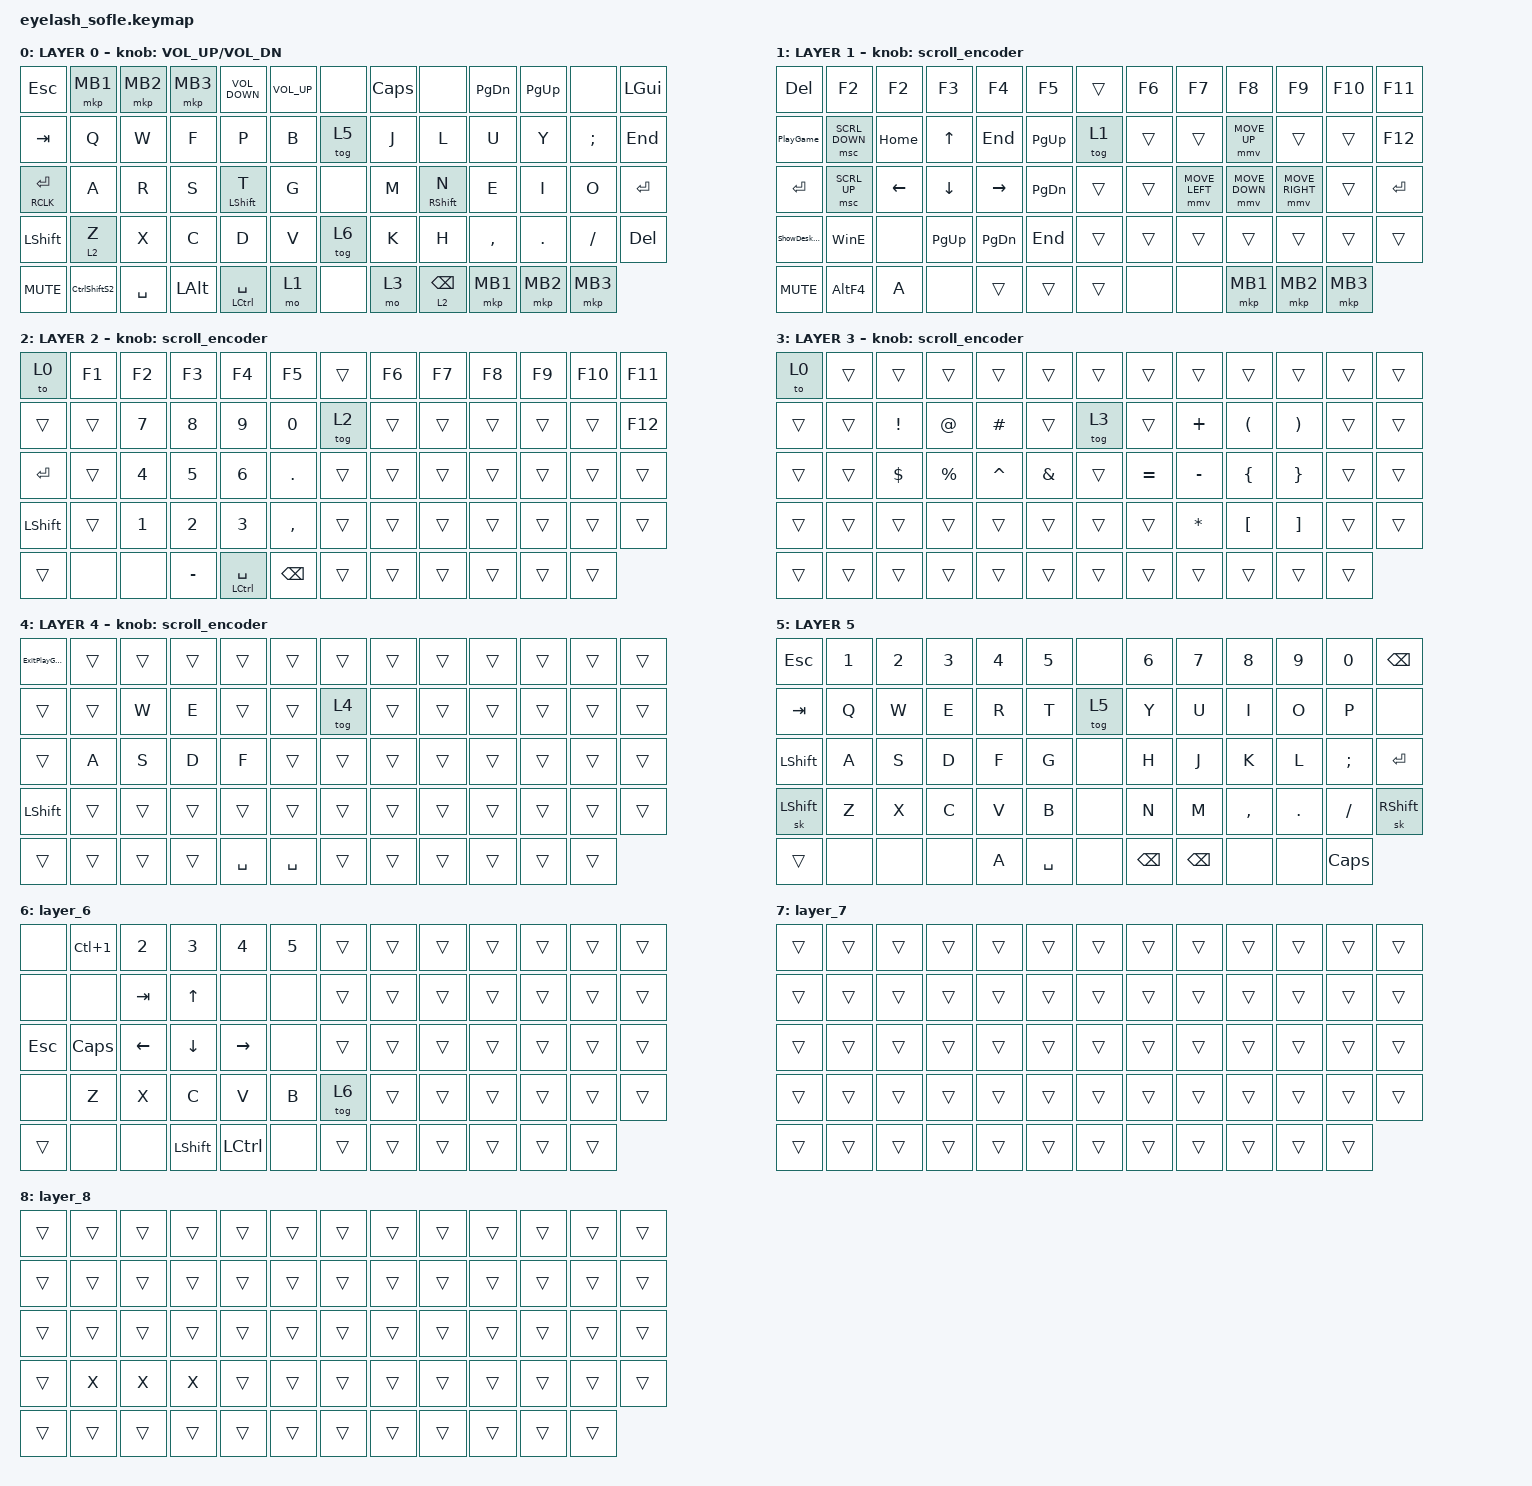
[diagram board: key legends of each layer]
#define ZMK_POINTING_DEFAULT_MOVE_VAL 1200  // 600
#define ZMK_POINTING_DEFAULT_SCRL_VAL 25   // 10

#include <input/processors.dtsi>
#include <zephyr/dt-bindings/input/input-event-codes.h>
#include <behaviors.dtsi>
#include <dt-bindings/zmk/keys.h>
#include <dt-bindings/zmk/pointing.h>

&mmv_input_listener { input-processors = <&zip_xy_scaler 2 1>; };

&msc_input_listener { input-processors = <&zip_scroll_scaler 2 1>; };

&msc {
    acceleration-exponent = <1>;      // 0
    time-to-max-speed-ms = <100>;       // 300
    delay-ms = <0>;                   // 0
};

&mmv {
    time-to-max-speed-ms = <500>;
    acceleration-exponent = <1>;
    trigger-period-ms = <16>;
};

&soft_off { hold-time-ms = <2000>; };

/ {
    scroll_encoder: scroll_encoder {
        compatible = "zmk,behavior-sensor-rotate";
        #sensor-binding-cells = <0>;
        bindings = <&msc SCRL_DOWN>, <&msc SCRL_UP>;

        tap-ms = <100>;
    };

    hm: hm {
        compatible = "zmk,behavior-hold-tap";
        label = "HM";
        bindings = <&kp>, <&kp>;

        #binding-cells = <2>;
        tapping-term-ms = <200>;
        quick-tap-ms = <200>;
        require-prior-idle-ms = <200>;
        flavor = "tap-preferred";
    };

    hm_300: hm_300 {
        compatible = "zmk,behavior-hold-tap";
        label = "HM_300";
        bindings = <&kp>, <&kp>;

        #binding-cells = <2>;
        tapping-term-ms = <300>;
        quick-tap-ms = <300>;
        require-prior-idle-ms = <300>;
        flavor = "tap-preferred";
    };

    hm_400: hm_400 {
        compatible = "zmk,behavior-hold-tap";
        label = "HM_400";
        bindings = <&kp>, <&kp>;

        #binding-cells = <2>;
        tapping-term-ms = <400>;
        quick-tap-ms = <400>;
        require-prior-idle-ms = <400>;
        flavor = "tap-preferred";
    };

    hm_500: hm_500 {
        compatible = "zmk,behavior-hold-tap";
        label = "HM_500";
        bindings = <&kp>, <&kp>;

        #binding-cells = <2>;
        tapping-term-ms = <500>;
        quick-tap-ms = <500>;
        require-prior-idle-ms = <500>;
        flavor = "tap-preferred";
    };

    tap_dance_click: tap_dance_click {
        compatible = "zmk,behavior-hold-tap";
        label = "TAP_DANCE_CLICK";
        bindings = <&mkp>, <&kp>;

        #binding-cells = <2>;
        tapping-term-ms = <200>;
        flavor = "tap-preferred";
    };

    tap_dance_with_mouse: tap_dance_with_mouse {
        compatible = "zmk,behavior-hold-tap";
        label = "TAP_DANCE_WITH_MOUSE";
        bindings = <&mkp>, <&sk>;

        #binding-cells = <2>;
        tapping-term-ms = <300>;
    };

    behaviors {
    };

    combos {
        compatible = "zmk,combos";

        softoff {
            bindings = <&soft_off>;
            key-positions = <14 28 40>;
        };

        Liniuta {
            bindings = <&kp MINUS>;
            key-positions = <30 34>;
        };

        QuestionMark {
            bindings = <&kp QUESTION>;
            key-positions = <17 21>;
        };

        Colon {
            bindings = <&kp COLON>;
            key-positions = <31 33>;
        };

        Underscore {
            bindings = <&kp UNDERSCORE>;
            key-positions = <43 47>;
        };

        Apostrof {
            bindings = <&kp SQT>;
            key-positions = <29 35>;
        };

        Ghilimele {
            bindings = <&kp DOUBLE_QUOTES>;
            key-positions = <16 22>;
        };

        StickyShift {
            bindings = <&sk LEFT_SHIFT>;
            key-positions = <42 48>;
        };

        StickyShift2 {
            bindings = <&sk LEFT_SHIFT>;
            key-positions = <28 36>;
        };

        StickyShift3 {
            bindings = <&sk LEFT_SHIFT>;
            key-positions = <15 23>;
        };

        LeftShift {
            bindings = <&sk LEFT_SHIFT>;
            key-positions = <29 30>;
        };

        RightShift {
            bindings = <&sk RIGHT_SHIFT>;
            key-positions = <34 35>;
        };

        leftshift5 {
            bindings = <&sk RIGHT_SHIFT>;
            key-positions = <56 15>;
        };

        leftshift9 {
            bindings = <&sk RIGHT_SHIFT>;
            key-positions = <56 16>;
        };
    };

    macros {
        PlayGame: PlayGame {
            compatible = "zmk,behavior-macro";
            #binding-cells = <0>;
            bindings =
                <&macro_press>,
                <&kp LEFT_ALT>,
                <&macro_wait_time 20>,
                <&macro_press>,
                <&kp Q>,
                <&macro_release>,
                <&kp LEFT_ALT &kp Q>,
                <&macro_tap>,
                <&tog 4>;

            label = "PLAYGAME";
        };

        ExitPlayGame: ExitPlayGame {
            compatible = "zmk,behavior-macro";
            #binding-cells = <0>;
            bindings = <&kp ESCAPE &tog 4>;
            label = "EXITPLAYGAME";
        };

        Test: Test {
            compatible = "zmk,behavior-macro";
            #binding-cells = <0>;
            bindings = <&none &kp LS(T) &kp Y &kp P &kp E &kp SPACE &kp S &kp O &kp M &kp E &kp T &kp H &kp I &kp N &kp G &kp DOT &kp DOT &kp DOT>;
            label = "TEST";
        };

        CTRL_SHIFT_CLICK: CTRL_SHIFT_CLICK {
            compatible = "zmk,behavior-macro";
            #binding-cells = <0>;
            bindings = <&kt LEFT_CONTROL &kt LEFT_SHIFT &mkp MB1 &kt LEFT_CONTROL &kt LEFT_SHIFT>;
            label = "CTRL_SHIFT_CLICK";
        };

        WinE: WinD {
            compatible = "zmk,behavior-macro";
            #binding-cells = <0>;
            bindings =
                <&macro_press>,
                <&kp LEFT_WIN>,
                <&macro_wait_time 20>,
                <&macro_press>,
                <&kp E>,
                <&macro_release>,
                <&kp LEFT_WIN &kp E>;

            label = "WIND";
        };

        ShowDesktop: ShowDesktop {
            compatible = "zmk,behavior-macro";
            #binding-cells = <0>;
            bindings =
                <&macro_press>,
                <&kp LEFT_WIN>,
                <&macro_wait_time 20>,
                <&macro_press>,
                <&kp D>,
                <&macro_release>,
                <&kp LEFT_WIN &kp D>;

            label = "SHOWDESKTOP";
        };

        WinDown: WinDown {
            compatible = "zmk,behavior-macro";
            #binding-cells = <0>;
            bindings =
                <&macro_press>,
                <&kp LEFT_WIN>,
                <&macro_wait_time 20>,
                <&macro_press>,
                <&kp DOWN>,
                <&macro_release>,
                <&kp LEFT_WIN &kp DOWN_ARROW>;

            label = "WINDOWN";
        };

        CtrlShiftS: CtrlShiftS {
            compatible = "zmk,behavior-macro";
            #binding-cells = <0>;
            bindings = <&kp S>, <&macro_press>, <&kp LCTRL &kp LEFT_SHIFT>;

            label = "CTRLSHIFTS";
        };

        CtrlShiftS2: CtrlShiftS2 {
            compatible = "zmk,behavior-macro";
            #binding-cells = <0>;
            bindings =
                <&macro_press>,
                <&kp LCTRL &kp LEFT_SHIFT>,
                <&macro_wait_time 20>,
                <&macro_press>,
                <&kp S>,
                <&macro_release>,
                <&kp LCTRL &kp LEFT_SHIFT &kp S>;

            label = "CTRLSHIFTS2";
        };

        AltF4: AltF4 {
            compatible = "zmk,behavior-macro";
            #binding-cells = <0>;
            bindings =
                <&macro_press>,
                <&kp LEFT_ALT>,
                <&macro_wait_time 20>,
                <&macro_press>,
                <&kp F4>,
                <&macro_release>,
                <&kp LEFT_ALT &kp F4>;

            label = "ALTF4";
        };
    };

    keymap {
        compatible = "zmk,keymap";

        Layer_0 {
            bindings = <
&kp ESC                      &mkp MB1      &mkp MB2   &mkp MB3      &kp C_VOLUME_DOWN           &kp C_VOLUME_UP    &none   &kp CAPSLOCK  &none              &kp PAGE_DOWN  &kp PAGE_UP  &none          &kp LEFT_GUI
&kp TAB                      &kp Q         &kp W      &kp F         &kp P                       &kp B              &tog 5  &kp J         &kp L              &kp U          &kp Y        &kp SEMICOLON  &kp END
&tap_dance_click RCLK ENTER  &kp A         &kp R      &kp S         &hm LEFT_SHIFT T            &kp G              &none   &kp M         &hm RIGHT_SHIFT N  &kp E          &kp I        &kp O          &kp ENTER
&kp LEFT_SHIFT               &lt 2 Z       &kp X      &kp C         &kp D                       &kp V              &tog 6  &kp K         &kp H              &kp COMMA      &kp DOT      &kp FSLH       &kp DELETE
&kp C_MUTE                   &CtrlShiftS2  &kp SPACE  &kp LEFT_ALT  &hm_300 LEFT_CONTROL SPACE  &mo 1              &none   &mo 3         &lt 2 BACKSPACE    &mkp MB1       &mkp MB2     &mkp MB3
            >;

            sensor-bindings = <&inc_dec_kp C_VOLUME_UP C_VOL_DN>;
            display-name = "LAYER 0";
        };

        Layer_1 {
            bindings = <
&kp DELETE    &kp F2          &kp F2          &kp F3          &kp F4         &kp F5           &trans  &kp F6  &kp F7          &kp F8          &kp F9           &kp F10   &kp F11
&PlayGame     &msc SCRL_DOWN  &kp HOME        &kp UP_ARROW    &kp END        &kp PAGE_UP      &tog 1  &trans  &trans          &mmv MOVE_UP    &trans           &trans    &kp F12
&kp ENTER     &msc SCRL_UP    &kp LEFT_ARROW  &kp DOWN_ARROW  &kp RIGHT      &kp PAGE_DOWN    &trans  &trans  &mmv MOVE_LEFT  &mmv MOVE_DOWN  &mmv MOVE_RIGHT  &trans    &kp ENTER
&ShowDesktop  &WinE           &none           &kp PAGE_UP     &kp PAGE_DOWN  &kp END          &trans  &trans  &trans          &trans          &trans           &trans    &trans
&kp C_MUTE    &AltF4          &kp A           &none           &trans         &trans           &trans  &none   &none           &mkp MB1        &mkp MB2         &mkp MB3
            >;

            display-name = "LAYER 1";
            sensor-bindings = <&scroll_encoder>;
        };

        Layer_2 {
            bindings = <
&to 0           &kp F1  &kp F2        &kp F3        &kp F4                  &kp F5           &trans  &kp F6  &kp F7  &kp F8  &kp F9  &kp F10  &kp F11
&trans          &trans  &kp N7        &kp N8        &kp N9                  &kp N0           &tog 2  &trans  &trans  &trans  &trans  &trans   &kp F12
&kp ENTER       &trans  &kp NUMBER_4  &kp N5        &kp NUMBER_6            &kp PERIOD       &trans  &trans  &trans  &trans  &trans  &trans   &trans
&kp LEFT_SHIFT  &trans  &kp NUMBER_1  &kp NUMBER_2  &kp NUMBER_3            &kp COMMA        &trans  &trans  &trans  &trans  &trans  &trans   &trans
&trans          &none   &none         &kp MINUS     &hm LEFT_CONTROL SPACE  &kp BACKSPACE    &trans  &trans  &trans  &trans  &trans  &trans
            >;

            display-name = "LAYER 2";
            sensor-bindings = <&scroll_encoder>;
        };

        Layer_3 {
            bindings = <
&to 0   &trans  &trans           &trans       &trans     &trans           &trans  &trans     &trans        &trans                &trans                 &trans  &trans
&trans  &trans  &kp EXCLAMATION  &kp AT       &kp HASH   &trans           &tog 3  &trans     &kp PLUS      &kp LEFT_PARENTHESIS  &kp RIGHT_PARENTHESIS  &trans  &trans
&trans  &trans  &kp DOLLAR       &kp PERCENT  &kp CARET  &kp AMPERSAND    &trans  &kp EQUAL  &kp MINUS     &kp LEFT_BRACE        &kp RIGHT_BRACE        &trans  &trans
&trans  &trans  &trans           &trans       &trans     &trans           &trans  &trans     &kp ASTERISK  &kp LEFT_BRACKET      &kp RIGHT_BRACKET      &trans  &trans
&trans  &trans  &trans           &trans       &trans     &trans           &trans  &trans     &trans        &trans                &trans                 &trans
            >;

            display-name = "LAYER 3";
            sensor-bindings = <&scroll_encoder>;
        };

        Layer_4 {
            bindings = <
&ExitPlayGame   &trans  &trans  &trans  &trans     &trans       &trans  &trans  &trans  &trans  &trans  &trans  &trans
&trans          &trans  &kp W   &kp E   &trans     &trans       &tog 4  &trans  &trans  &trans  &trans  &trans  &trans
&trans          &kp A   &kp S   &kp D   &kp F      &trans       &trans  &trans  &trans  &trans  &trans  &trans  &trans
&kp LEFT_SHIFT  &trans  &trans  &trans  &trans     &trans       &trans  &trans  &trans  &trans  &trans  &trans  &trans
&trans          &trans  &trans  &trans  &kp SPACE  &kp SPACE    &trans  &trans  &trans  &trans  &trans  &trans
            >;

            display-name = "LAYER 4";
            sensor-bindings = <&scroll_encoder>;
        };

        Layer_5 {
            bindings = <
&kp ESCAPE      &kp NUMBER_1  &kp NUMBER_2  &kp NUMBER_3  &kp NUMBER_4  &kp N5       &none   &kp NUMBER_6   &kp N7         &kp N8     &kp N9      &kp N0         &kp BACKSPACE
&kp TAB         &kp Q         &kp W         &kp E         &kp R         &kp T        &tog 5  &kp Y          &kp U          &kp I      &kp O       &kp P          &none
&kp LEFT_SHIFT  &kp A         &kp S         &kp D         &kp F         &kp G        &none   &kp H          &kp J          &kp K      &kp L       &kp SEMICOLON  &kp ENTER
&sk LEFT_SHIFT  &kp Z         &kp X         &kp C         &kp V         &kp B        &none   &kp N          &kp M          &kp COMMA  &kp PERIOD  &kp SLASH      &sk RIGHT_SHIFT
&trans          &none         &none         &none         &kp A         &kp SPACE    &none   &kp BACKSPACE  &kp BACKSPACE  &none      &none       &kp CAPSLOCK
            >;

            label = "LAYER 5";
        };

        layer_6 {
            bindings = <
&none       &kp LC(NUMBER_1)  &kp NUMBER_2    &kp NUMBER_3    &kp NUMBER_4      &kp NUMBER_5    &trans  &trans  &trans  &trans  &trans  &trans  &trans
&none       &none             &kp TAB         &kp UP_ARROW    &none             &none           &trans  &trans  &trans  &trans  &trans  &trans  &trans
&kp ESCAPE  &kp CAPSLOCK      &kp LEFT_ARROW  &kp DOWN        &kp RIGHT         &none           &trans  &trans  &trans  &trans  &trans  &trans  &trans
&none       &kp Z             &kp X           &kp C           &kp V             &kp B           &tog 6  &trans  &trans  &trans  &trans  &trans  &trans
&trans      &none             &none           &kp LEFT_SHIFT  &kp LEFT_CONTROL  &none           &trans  &trans  &trans  &trans  &trans  &trans
            >;
        };

        layer_7 {
            bindings = <
&trans  &trans  &trans  &trans  &trans  &trans    &trans  &trans  &trans  &trans  &trans  &trans  &trans
&trans  &trans  &trans  &trans  &trans  &trans    &trans  &trans  &trans  &trans  &trans  &trans  &trans
&trans  &trans  &trans  &trans  &trans  &trans    &trans  &trans  &trans  &trans  &trans  &trans  &trans
&trans  &trans  &trans  &trans  &trans  &trans    &trans  &trans  &trans  &trans  &trans  &trans  &trans
&trans  &trans  &trans  &trans  &trans  &trans    &trans  &trans  &trans  &trans  &trans  &trans
            >;
        };

        layer_8 {
            bindings = <
&trans  &trans  &trans  &trans  &trans  &trans    &trans  &trans  &trans  &trans  &trans  &trans  &trans
&trans  &trans  &trans  &trans  &trans  &trans    &trans  &trans  &trans  &trans  &trans  &trans  &trans
&trans  &trans  &trans  &trans  &trans  &trans    &trans  &trans  &trans  &trans  &trans  &trans  &trans
&trans  &kp X   &kp X   &kp X   &trans  &trans    &trans  &trans  &trans  &trans  &trans  &trans  &trans
&trans  &trans  &trans  &trans  &trans  &trans    &trans  &trans  &trans  &trans  &trans  &trans
            >;
        };
    };
};
